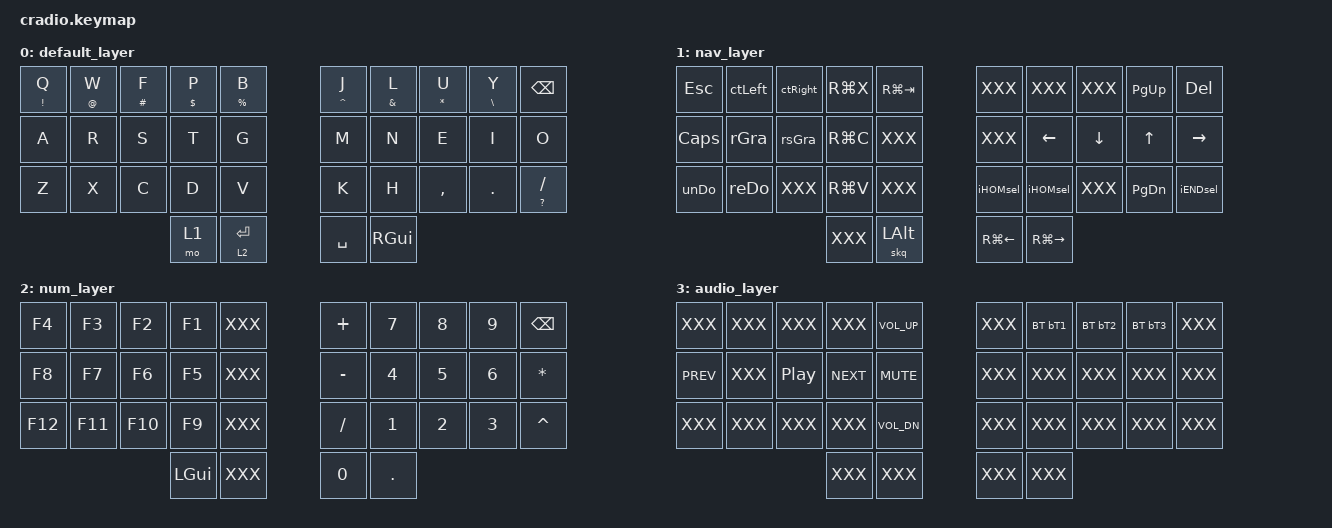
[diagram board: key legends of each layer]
#include <behaviors.dtsi>
#include <dt-bindings/zmk/keys.h>
#include <dt-bindings/zmk/bt.h>
#include "cradio.h"

&mt {
    tapping-term-ms = <300>;
};

/ { 
    behaviors {
        hm: hold_mods {
            compatible = "zmk,behavior-hold-tap";
            label = "HOLD_TAP";
            #binding-cells = <2>;
            tapping-term-ms = <160>;
            quick_tap_ms = <0>;
            flavor = "tap-preferred";
            bindings = <&kp>, <&kp>;
        };
        skq: sticky_key_quick_release {
            compatible = "zmk,behavior-sticky-key";
            label = "STICKY_KEY_QUICK_RELEASE";
            #binding-cells = <1>;
            bindings = <&kp>;
            release-after-ms = <2000>;
            quick-release;
        };
        lst: layer_sticky_tap {
            compatible = "zmk,behavior-hold-tap";
            label = "LAYER_STICKY_TAP";
            #binding-cells = <2>;
            tapping-term-ms = <200>;
            quick_tap_ms = <0>;
            flavor = "tap-preferred";
            bindings = <&mo>, <&sk>;
        };
    };

    combos {
        #include "combos.dtsi"
    };

    keymap {
            compatible = "zmk,keymap";
            
    	default_layer {
    		bindings = <
            // ╭─────────────┬─────────────┬─────────────┬─────────────┬─────────────╮   ╭─────────────┬─────────────┬─────────────┬─────────────┬─────────────╮
                 &hm EXCL Q    &hm AT W      &hm HASH F    &hm DLLR P    &hm PRCNT B       &hm CARET J   &hm AMPS L    &hm STAR U    &hm BSLH Y    &kp BSPC 
            // ├─────────────┼─────────────┼─────────────┼─────────────┼─────────────┤   ├─────────────┼─────────────┼─────────────┼─────────────┼─────────────┤
                 &kp A         &kp R         &kp S         &kp T         &kp G             &kp M         &kp N         &kp E         &kp I         &kp O
            // ├─────────────┼─────────────┼─────────────┼─────────────┼─────────────┤   ├─────────────┼─────────────┼─────────────┼─────────────┼─────────────┤
                 &kp Z         &kp X         &kp C         &kp D         &kp V	           &kp K         &kp H         &kp COMMA     &kp DOT       &hm QMARK SLASH
            // ╰─────────────┴─────────────┴─────────────┼─────────────┼─────────────┤   ├─────────────┼─────────────┼─────────────┴─────────────┴─────────────╯
                                                           &mo  1        &lt 2 RET         &kp SPACE     &kp RGUI 
            //                                           ╰─────────────┴─────────────╯   ╰─────────────┴─────────────╯
		  >;
        };
		  
        nav_layer {
            bindings = <
            // ╭─────────────┬─────────────┬─────────────┬─────────────┬─────────────╮   ╭─────────────┬─────────────┬─────────────┬─────────────┬─────────────╮
                 &kp ESC       &kp ctLeft    &kp ctRight   &kp RG(X)     &kp RG(TAB)       &kp XXX       &kp XXX       &kp XXX       &kp PG_UP     &kp DEL
            // ├─────────────┼─────────────┼─────────────┼─────────────┼─────────────┤   ├─────────────┼─────────────┼─────────────┼─────────────┼─────────────┤
                 &kp CAPS      &kp rGra      &kp rsGra     &kp RG(C)     &kp XXX           &kp XXX       &kp LEFT      &kp DOWN      &kp UP        &kp RIGHT
            // ├─────────────┼─────────────┼─────────────┼─────────────┼─────────────┤   ├─────────────┼─────────────┼─────────────┼─────────────┼─────────────┤
                 &kp unDo      &kp reDo      &kp XXX       &kp RG(V)     &kp XXX           &kp iHOMsel   &kp iHOMsel   &kp XXX       &kp PG_DN     &kp iENDsel
            // ╰─────────────┴─────────────┴─────────────┼─────────────┼─────────────┤   ├─────────────┼─────────────┼─────────────┴─────────────┴─────────────╯
                                                           &kp XXX       &skq LALT         &kp RG(LEFT)  &kp RG(RIGHT)
            //                                           ╰─────────────┴─────────────╯   ╰─────────────┴─────────────╯
            >;
        };
        
        num_layer {
            bindings = <
            // ╭─────────────┬─────────────┬─────────────┬─────────────┬─────────────╮   ╭─────────────┬─────────────┬─────────────┬─────────────┬─────────────╮
                 &kp F4        &kp F3        &kp F2        &kp F1        &kp XXX           &kp PLUS      &kp N7        &kp N8        &kp N9        &kp BSPC
            // ├─────────────┼─────────────┼─────────────┼─────────────┼─────────────┤   ├─────────────┼─────────────┼─────────────┼─────────────┼─────────────┤
                 &kp F8        &kp F7        &kp F6        &kp F5        &kp XXX           &kp MINUS     &kp N4        &kp N5        &kp N6        &kp STAR 
            // ├─────────────┼─────────────┼─────────────┼─────────────┼─────────────┤   ├─────────────┼─────────────┼─────────────┼─────────────┼─────────────┤
                 &kp F12       &kp F11       &kp F10       &kp F9        &kp XXX           &kp SLASH     &kp N1        &kp N2        &kp N3        &kp CARET
            // ╰─────────────┴─────────────┴─────────────┼─────────────┼─────────────┤   ├─────────────┼─────────────┼─────────────┴─────────────┴─────────────╯
                                                           &kp LGUI      &kp XXX           &kp N0        &kp DOT
            //                                           ╰─────────────┴─────────────╯   ╰─────────────┴─────────────╯
            >;
        };   

        audio_layer {
            bindings = <
            // ╭─────────────┬─────────────┬─────────────┬─────────────┬─────────────╮   ╭─────────────┬─────────────┬─────────────┬─────────────┬─────────────╮
                 &kp XXX       &kp XXX       &kp XXX       &kp XXX       &kp C_VOL_UP      &kp XXX       &bt bT1       &bt bT2       &bt bT3       &kp XXX
            // ├─────────────┼─────────────┼─────────────┼─────────────┼─────────────┤   ├─────────────┼─────────────┼─────────────┼─────────────┼─────────────┤
                 &kp C_PREV    &kp XXX       &kp C_PP      &kp C_NEXT    &kp K_MUTE        &kp XXX       &kp XXX       &kp XXX       &kp XXX       &kp XXX 
            // ├─────────────┼─────────────┼─────────────┼─────────────┼─────────────┤   ├─────────────┼─────────────┼─────────────┼─────────────┼─────────────┤
                 &kp XXX       &kp XXX       &kp XXX       &kp XXX       &kp C_VOL_DN      &kp XXX       &kp XXX       &kp XXX       &kp XXX       &kp XXX
            // ╰─────────────┴─────────────┴─────────────┼─────────────┼─────────────┤   ├─────────────┼─────────────┼─────────────┴─────────────┴─────────────╯
                                                           &kp XXX       &kp XXX           &kp XXX       &kp XXX
            //                                           ╰─────────────┴─────────────╯   ╰─────────────┴─────────────╯
            >;
        };   
    };
};
